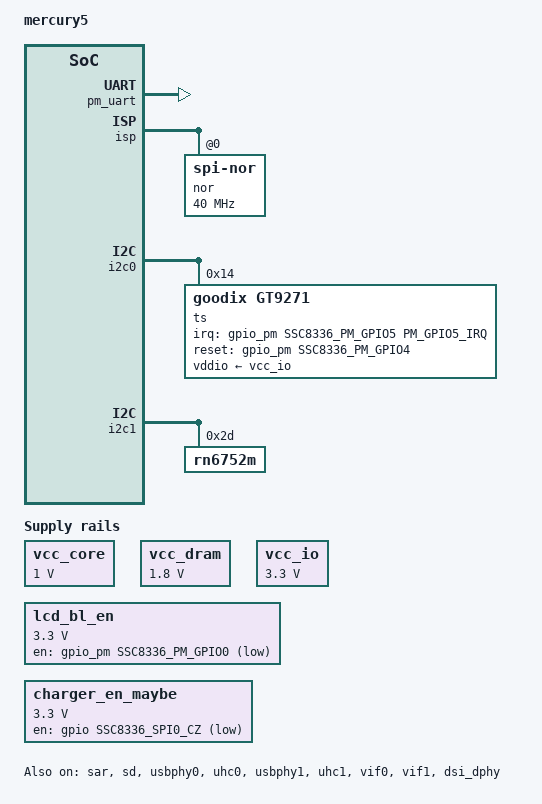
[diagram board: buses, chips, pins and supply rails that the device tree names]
// SPDX-License-Identifier: GPL-2.0
/*
 * Copyright (c) 2019 thingy.jp.
 * Author: Daniel Palmer <daniel@thingy.jp>
 */

/dts-v1/;

#include "mstar-mercury5-ssc8336n.dtsi"
#include <dt-bindings/gpio/gpio.h>
#include <dt-bindings/gpio/mstar.h>

/ {
	model = "mercury5";
	compatible = "mstar,mercury5";
	
	chosen {
		stdout-path = "serial0:115200n8";
		bootargs = "console=ttyS0,115200 root=/dev/mtdblock3 clk_ignore_unused earlyprintk=serial,ttyS0,115200";
	};
	
	vcc_core: fixedregulator@0 {
		compatible = "regulator-fixed";
		regulator-name = "vcc_core";
		regulator-min-microvolt = <1000000>;
		regulator-max-microvolt = <1000000>;
		regulator-boot-on;
	};

	vcc_dram: fixedregulator@1 {
		compatible = "regulator-fixed";
		regulator-name = "vcc_dram";
		regulator-min-microvolt = <1800000>;
		regulator-max-microvolt = <1800000>;
		regulator-boot-on;
	};

	vcc_io: fixedregulator@2 {
		compatible = "regulator-fixed";
		regulator-name = "vcc_io";
		regulator-min-microvolt = <3300000>;
		regulator-max-microvolt = <3300000>;
		regulator-boot-on;
	};
	
	lcd_bl_en: fixedregulator@0 {
		compatible = "regulator-fixed";
		regulator-name = "lcd_bl_en";
		regulator-min-microvolt = <3300000>;
		regulator-max-microvolt = <3300000>;
		gpio = <&gpio_pm SSC8336_PM_GPIO0 GPIO_ACTIVE_HIGH>;
	};

	charger_en_maybe: fixedregulator@0 {
		compatible = "regulator-fixed";
		regulator-name = "lcd_bl_en";
		regulator-min-microvolt = <3300000>;
		regulator-max-microvolt = <3300000>;
		gpio = <&gpio SSC8336_SPI0_CZ GPIO_ACTIVE_HIGH>;
	};
};

&cpu0 {
	cpu-supply = <&vcc_core>;
};

&pm_uart {
	status = "okay";
};

&isp {
	status = "okay";
	nor: nor@0 {
		#address-cells = <1>;
		#size-cells = <1>;
		compatible = "jedec,spi-nor";
		reg = <0>;
		spi-max-frequency = <40000000>;
	};
};

&i2c0 {
	status = "okay";
	ts@14 {
		compatible = "goodix,gt9271";
		reg = <0x14>;
		interrupts-extends = <&gpio_pm SSC8336_PM_GPIO5 IRQ_TYPE_LEVEL_HIGH>;
		irq-gpios = <&gpio_pm SSC8336_PM_GPIO5 PM_GPIO5_IRQ 0>;
		reset-gpios = <&gpio_pm SSC8336_PM_GPIO4 0>;
		vddio-supply = <&vcc_io>;
	};
};

&i2c1 {
	status = "okay";

	// looks like this can also be 0x5a
	rn6752m@0x2d {
		reg = <0x2d>;
		/* clock for this comes from the csi block of the soc */
	};
};

&sar {
	status = "okay";
};

&sd {
	vmmc-supply = <&vcc_io>;
	vqmmc-supply = <&vcc_io>;
	cd-gpios = <&gpio_pm SSC8336_PM_SD_SDZ GPIO_ACTIVE_LOW>;
	status = "okay";
};

&usbphy0 {
	mstar,utmi-dxswap;
	status = "okay";
};

&uhc0 {
	status = "okay";
};

&usbphy1 {
	mstar,utmi-dxswap;
	status = "okay";
};

&uhc1 {
	status = "okay";
};

&vif0 {
	mstar,vif-src = "mipi-4-lane";
	pinctrl-names = "default";
	pinctrl-0 = <&sr0_mipi_mode2_pins>;
	status = "okay";
};

&vif1 {
	mstar,vif-src = "bt656";
	pinctrl-names = "default";
	pinctrl-0 = <&sr1_bt656_pins>;
	status = "okay";
};

&dsi_dphy {
	mstar,dphy-mode = "4 lanes";
	pinctrl-names = "default";
	pinctrl-0 = <&tx_mipi_mode2_pins>;
	status = "okay";
};
